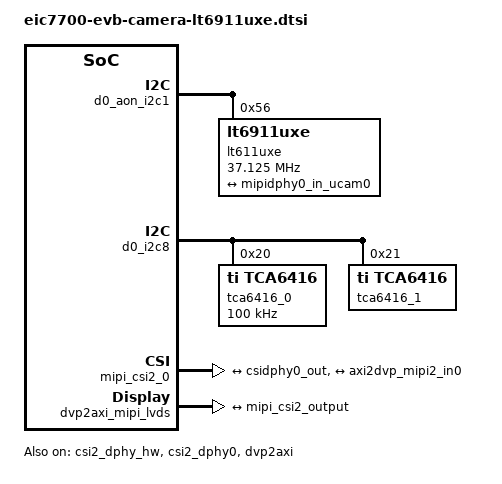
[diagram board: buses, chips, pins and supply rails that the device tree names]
// #include "eswin-win2030-die0-soc.dtsi"
#include <dt-bindings/gpio/gpio.h>
#include <dt-bindings/input/input.h>
&vi_subsys {
	eswin,isp_dvp0_hor = <1920>;
	eswin,isp_dvp0_ver = <1080>;
	phy_mode = <2>; //5: 6x2lanes, 2: 3x4lanes
};

&d0_aon_i2c1 {
	/* lt69911uxe */
	status = "okay";
	pinctrl-names = "default";
	pinctrl-0 = <&pinctrl_i2c11_default>;
	i2c-sda-hold-time-ns = <0x40>;
	lt611uxe: lt611uxe@56 {
		compatible = "lt6911uxe";
		status = "okay";
		address-cells = <1>;
		size-cells = <0>;
		reg = <0x56>;

		clocks = <&d0_clock EIC7700_CLK_VI_SHUTTER_0>;
		clock-frequency = <37125000>;
		#assigned-clocks = <&d0_clock EIC7700_CLK_VI_SHUTTER_0>;
		assigned-clock-rates = <37125000>;
		clock-names = "xvclk";

		eswin,camera-module-index = <0>;
		eswin,camera-module-facing = "back";
		eswin,camera-module-name = "LT";
		eswin,camera-module-lens-name = "HDMI-IN";

		port {
			hdmiin_out0: endpoint {
				remote-endpoint = <&mipidphy0_in_ucam0>;
				data-lanes = <1 2>;
				link-frequencies = /bits/ 64 <456000000>;
			};
		};
	};
};

&d0_i2c8 {
	/* io extended for mipi csi */
	status = "okay";
	tca6416_0: gpio@20 {
		compatible = "ti,tca6416";
		clock-frequency = <100000>;
		reg = <0x20>;
		gpio-controller; /* IRQ not connected */
		#gpio-cells = <2>;
		gpio-line-names = "MIPI_CSI0_PWDN", "MIPI_CSI0_RESET", "MIPI_CSI1_FBC", "MIPI_CSI1_ENB",
				"MIPI_CSI1_RESET", "MIPI_CSI1_PWDN", "FREX_GP0", "",
				"MIPI_CSI0_ENB", "MIPI_CSI0_FBC", "FREX_GP2", "MIPI_CSI2_FBC",
				"MIPI_CSI2_ENB", "FREX_GP1", "MIPI_CSI2_RESET", "MIPI_CSI2_PWDN";
		//vcc = <&gpio_vcc0>;
		status = "okay";
	};
	tca6416_1: gpio@21 {
		compatible = "ti,tca6416";
		reg = <0x21>;
		gpio-controller;
		#gpio-cells = <2>;
		/* IRQ not connected */
		gpio-line-names = "MIPI_CSI3_PWDN", "MIPI_CSI3_RESET", "MIPI_CSI3_ENB", "MIPI_CSI3_FBC",
				"MIPI_CSI4_PWDN", "MIPI_CSI4_RESET", "MIPI_CSI4_ENB", "MIPI_CSI4_FBC",
				"MIPI_CSI5_FBC", "MIPI_CSI5_ENB", "MIPI_CSI5_RESET", "MIPI_CSI5_PWDN",
				"", "", "", "";
		//vcc = <&gpio_vcc1>;
		status = "okay";
	};
};

&csi2_dphy_hw {
	lanes = <1 2>;
	lanes-dp-dn = <0 0>;	// 4lanes: positive on dn/ negative on dp to hs and lp mode
	status = "okay";
};

&csi2_dphy0 {
	status = "okay";
	ports {
		#address-cells = <1>;
		#size-cells = <0>;

		port@0 {
			reg = <0>;
			#address-cells = <1>;
			#size-cells = <0>;

			mipidphy0_in_ucam0: endpoint {
				// remote-endpoint = <&imx327_out0>;
				remote-endpoint = <&hdmiin_out0>;
				data-lanes = <1 2>;
			};
		};
		port@1 {
			reg = <1>;
			#address-cells = <1>;
			#size-cells = <0>;

			csidphy0_out: endpoint {
				remote-endpoint = <&mipi_csi2_input>;
			};
		};
	};
};

&csi2_dphy_hw2 {
	lanes = <1 2>;
	lanes-dp-dn = <0 0>;	// 4lanes: positive on dn/ negative on dp to hs and lp mode
	status = "disabled";
};
&csi2_dphy2 {
	status = "disabled";
	ports {
		#address-cells = <1>;
		#size-cells = <0>;

		port@0 {
			reg = <0>;
			#address-cells = <1>;
			#size-cells = <0>;

			mipidphy2_in_ucam0: endpoint@0 {
				reg = <0>;
				// remote-endpoint = <&imx327_out2>;
				remote-endpoint = <&hdmiin_out0>;
				data-lanes = <1 2>;
			};
		};

		port@1 {
			reg = <1>;
			#address-cells = <1>;
			#size-cells = <0>;

			csidphy2_out: endpoint@1 {
				reg = <1>;
				remote-endpoint = <&mipi_csi2_2_input>;
			};
		};
	};
};

&csi2_dphy_hw4 {
	lanes = <1 2>;
	lanes-dp-dn = <0 0>;	// 4lanes: positive on dn/ negative on dp to hs and lp mode
	status = "disabled";
};
&csi2_dphy4 {
	status = "disabled";
	ports {
		#address-cells = <1>;
		#size-cells = <0>;

		port@0 {
			reg = <0>;
			#address-cells = <1>;
			#size-cells = <0>;

			mipidphy4_in_ucam0: endpoint@0 {
				reg = <0>;
				// remote-endpoint = <&imx327_out4>;
				remote-endpoint = <&hdmiin_out0>;
				data-lanes = <1 2>;
			};
		};

		port@1 {
			reg = <1>;
			#address-cells = <1>;
			#size-cells = <0>;

			csidphy4_out: endpoint@1 {
				reg = <1>;
				remote-endpoint = <&mipi_csi2_4_input>;
			};
		};
	};
};

&mipi_csi2_0 {
	status = "okay";
	num_lanes = <2>;
	snps,en-ppi-width = <1>; // 1: 16-bit, 0: 8-bit
	ipi_dt = <0x24>; // 0x24: RGB888
	ports {
		#address-cells = <1>;
		#size-cells = <0>;

		port@0 {
			#address-cells = <1>;
			#size-cells = <0>;
			reg = <0>;
			mipi_csi2_input: endpoint {
				remote-endpoint = <&csidphy0_out>;
				data-lanes = <1 2>;
			};
		};

		port@1 {
			#address-cells = <1>;
			#size-cells = <0>;
			reg = <1>;
			mipi_csi2_output: endpoint {
				remote-endpoint = <&axi2dvp_mipi2_in0>;
			};
		};
	};
};

&mipi_csi2_2 {
	num_lanes = <4>;
	snps,en-ppi-width = <1>; // 1: 16-bit, 0: 8-bit
	ipi_dt = <0x24>; // 0x24: RGB888
	status = "disabled";
	ports {
		#address-cells = <1>;
		#size-cells = <0>;

		port@0 {
			reg = <0>;
			#address-cells = <1>;
			#size-cells = <0>;

			mipi_csi2_2_input: endpoint@0 {
				remote-endpoint = <&csidphy2_out>;
			};
		};

		port@1 {
			reg = <1>;
			#address-cells = <1>;
			#size-cells = <0>;

			mipi_csi2_2_output0: endpoint@1 {
				remote-endpoint = <&axi2dvp_mipi2_in2>;
			};
		};
	};
};


&mipi_csi2_4 {
	num_lanes = <4>;
	snps,en-ppi-width = <1>; // 1: 16-bit, 0: 8-bit
	ipi_dt = <0x24>; // 0x24: RGB888
	status = "disabled";
	ports {
		#address-cells = <1>;
		#size-cells = <0>;

		port@0 {
			reg = <0>;
			#address-cells = <1>;
			#size-cells = <0>;

			mipi_csi2_4_input: endpoint@0 {
				remote-endpoint = <&csidphy4_out>;
			};
		};

		port@1 {
			reg = <1>;
			#address-cells = <1>;
			#size-cells = <0>;

			mipi_csi2_4_output0: endpoint@1 {
				remote-endpoint = <&axi2dvp_mipi2_in4>;
			};
		};
	};
};

&dvp2axi {
	status = "okay";
};

&dvp2axi_mipi_lvds {
	status = "okay";
	dvp2axi_id = <0>;
	ports{
		#address-cells = <1>;
        #size-cells = <0>;
		port@0 {
			#address-cells = <1>;
        	#size-cells = <0>;
			reg = <0>;
			axi2dvp_mipi2_in0: endpoint {
				remote-endpoint = <&mipi_csi2_output>;
			};
		};
	};
};

&dvp2axi_mipi_lvds1 {
	dvp2axi_id = <1>;
	status = "disabled";
};

&dvp2axi_mipi_lvds2 {
	status = "disabled";
	dvp2axi_id = <2>;
	port@0 {
		axi2dvp_mipi2_in2: endpoint@0 {
			remote-endpoint = <&mipi_csi2_2_output0>;
		};
	};
};

&dvp2axi_mipi_lvds3 {
	dvp2axi_id = <3>;
	status = "disabled";
};

&dvp2axi_mipi_lvds4 {
	dvp2axi_id = <4>;
	status = "disabled";
	port@0 {
		axi2dvp_mipi2_in4: endpoint@0 {
			remote-endpoint = <&mipi_csi2_4_output0>;
		};
	};
};

&dvp2axi_mipi_lvds5 {
	dvp2axi_id = <5>;
	status = "disabled";
};
